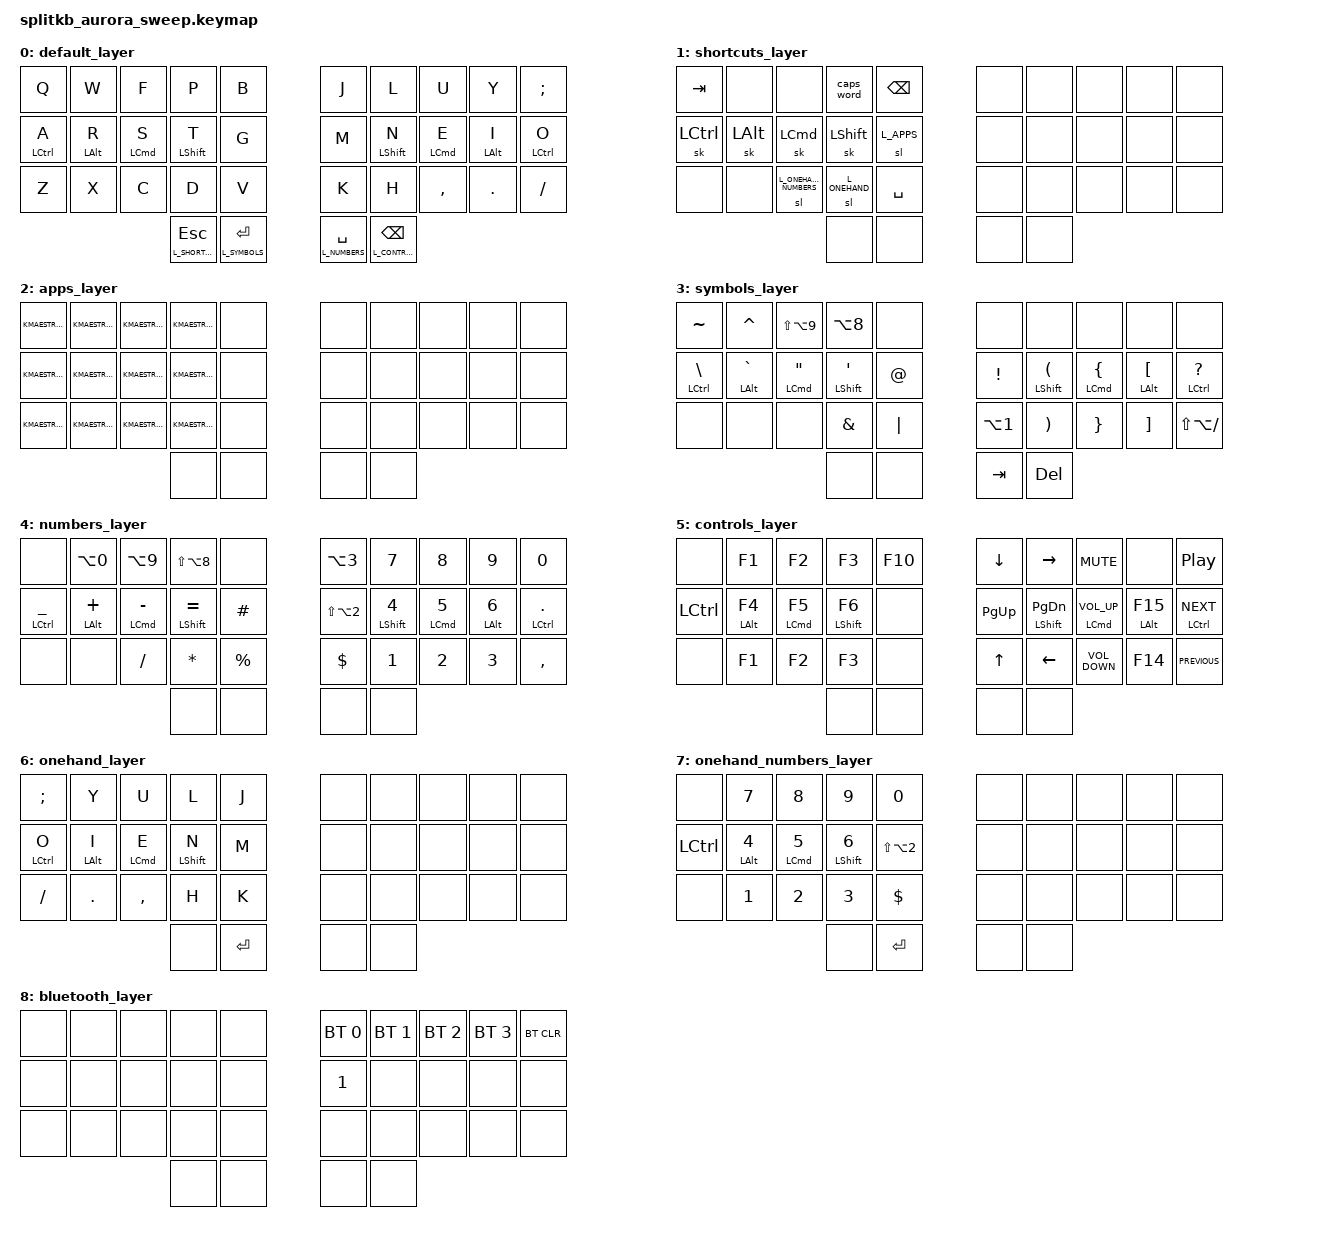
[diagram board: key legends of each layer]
/*
 * Copyright (c) 2020 The ZMK Contributors
 *
 * SPDX-License-Identifier: MIT
 */
#include <behaviors.dtsi>
#include <dt-bindings/zmk/keys.h>
#include <dt-bindings/zmk/bt.h>
#include <dt-bindings/zmk/outputs.h>


#define TAPPING_TERM 200

#define L_BASE 0
#define L_SHORTCUTS 1
#define L_APPS 2
#define L_SYMBOLS 3
#define L_NUMBERS 4
#define L_CONTROLS 5 
#define L_ONEHAND 6
#define L_ONEHAND_NUMBERS 7
#define L_BLUETOOTH 8

#define HYPER(key) LS(LC(LA(LG(key))))
#define KMAESTRO(key) LS(LC(LA(key)))
#define INTERPUNCT LS(LA(N9))
#define BULLET LA(N8)
#define EXCLAMATION_INVERTED LA(N1)
#define QUESTION_INVERTED LS(LA(SLASH))
#define ORDINAL_MASCULINE LA(N0)
#define ORDINAL_FEMENINE LA(N9)
#define DEGREE LS(LA(N8))
#define EUR LS(LA(N2))
#define GBP LA(N3)


&mt {
  tapping-term-ms = <TAPPING_TERM>;
  flavor = "tap-preferred";
};

/ { 

  combos {
      compatible = "zmk,combos";
      combo_bluetooth_layer {
          timeout-ms = <50>;
          key-positions = <30 31 32 33>;
          bindings = <&sl L_BLUETOOTH>;
      };
  };

  keymap {
      compatible = "zmk,keymap";

      default_layer {
      bindings = <
      &kp Q &kp W &kp F &kp P &kp B 					  &kp J &kp L &kp U &kp Y &kp SEMICOLON 
      &mt LCTRL A &mt LALT R &mt LCMD S &mt LSHIFT T &kp G 			      &kp M &mt LSHIFT N &mt LCMD E &mt LALT I &mt LCTRL O
      &kp Z &kp X &kp C &kp D &kp V				      &kp K &kp H &kp COMMA &kp DOT &kp SLASH
                        &lt L_SHORTCUTS ESC &lt L_SYMBOLS RETURN      &lt L_NUMBERS SPACE &lt L_CONTROLS BACKSPACE
      >;
      };

      shortcuts_layer {
      bindings = <
      &kp TAB &none &none &caps_word &kp BACKSPACE         &none &none &none &none &none 
      &sk LCTRL &sk LALT &sk LCMD &sk LSHIFT &sl L_APPS        &none &none &none &none &none
      &none &none &sl L_ONEHAND_NUMBERS &sl L_ONEHAND &kp SPACE    &none &none &none &none &none
                        &none &none        &none &none
      >;
      };

      apps_layer {
      bindings = <
      &kp KMAESTRO(F1) &kp KMAESTRO(F2) &kp KMAESTRO(F3) &kp KMAESTRO(F4) &none       &none &none &none &none &none 
      &kp KMAESTRO(F5) &kp KMAESTRO(F6) &kp KMAESTRO(F7) &kp KMAESTRO(F8) &none         &none &none &none &none &none
      &kp KMAESTRO(F9) &kp KMAESTRO(F10) &kp KMAESTRO(F11) &kp KMAESTRO(F12) &none        &none &none &none &none &none
                        &none &none        &none &none
      >;
      };
      
      symbols_layer {
      bindings = <
      &kp TILDE &kp CARET &kp INTERPUNCT &kp BULLET &none        &none &none &none &none &none
      &mt LCTRL BACKSLASH &mt LALT GRAVE &mt LCMD DOUBLE_QUOTES &mt LSHIFT SINGLE_QUOTE &kp AT_SIGN        &kp EXCLAMATION &mt LSHIFT LEFT_PARENTHESIS &mt LCMD LEFT_BRACE &mt LALT LEFT_BRACKET &mt LCTRL QUESTION
      &none &none &none &kp AMPERSAND &kp PIPE        &kp EXCLAMATION_INVERTED &kp RIGHT_PARENTHESIS &kp RIGHT_BRACE &kp RIGHT_BRACKET &kp QUESTION_INVERTED
                        &none &none        &kp TAB &kp DELETE
      >;
      };	

      numbers_layer {
      bindings = <
      &none &kp ORDINAL_MASCULINE &kp ORDINAL_FEMENINE &kp DEGREE &none        &kp GBP &kp N7 &kp N8 &kp N9 &kp N0
      &mt LCTRL UNDERSCORE &mt LALT PLUS &mt LCMD MINUS &mt LSHIFT EQUAL &kp HASH        &kp EUR &mt LSHIFT N4 &mt LCMD N5 &mt LALT N6 &mt LCTRL PERIOD
      &none &none &kp SLASH &kp ASTERISK &kp PERCENT        &kp DOLLAR &kp N1 &kp N2 &kp N3 &kp COMMA
                        &none &none        &none &none
      >;
      };	

      controls_layer {
      bindings = <
      &none &kp F1 &kp F2 &kp F3 &kp F10        &kp DOWN &kp RIGHT &kp K_MUTE &none &kp C_PLAY_PAUSE
      &kp LCTRL &mt LALT F4 &mt LCMD F5 &mt LSHIFT F6 &none        &kp PAGE_UP &mt LSHIFT PAGE_DOWN &mt LCMD C_VOLUME_UP &mt LALT F15 &mt LCTRL C_NEXT
      &none &kp F1 &kp F2 &kp F3 &none        &kp UP &kp LEFT &kp C_VOLUME_DOWN &kp F14 &kp C_PREVIOUS
                        &none &none        &none &none
      >;
      };	

      onehand_layer {
      bindings = <
      &kp SEMICOLON &kp Y &kp U &kp L &kp J        &none &none &none &none &none
      &mt LCTRL O &mt LALT I &mt LCMD E &mt LSHIFT N &kp M        &none &none &none &none &none
      &kp SLASH &kp DOT &kp COMMA &kp H &kp K        &none &none &none &none &none
                        &none &kp RETURN      &none &none 
      >;
      };	

      onehand_numbers_layer {
      bindings = <
      &none &kp N7 &kp N8 &kp N9 &kp N0        &none &none &none &none &none
      &kp LCTRL &mt LALT N4 &mt LCMD N5 &mt LSHIFT N6 &kp EUR          &none &none &none &none &none
      &none &kp N1 &kp N2 &kp N3 &kp DOLLAR        &none &none &none &none &none
                        &none &kp RETURN     &none &none
      >;
      };

      bluetooth_layer {
      bindings = <
      &none &none &none &none &none        &bt BT_SEL 0 &bt BT_SEL 1 &bt BT_SEL 2 &bt BT_SEL 3 &bt BT_CLR
      &none &none &none &none &none        &kp N1 &none &none &none &none
      &none &none &none &none &none        &none &none &none &none &none
                        &none &none        &none &none
      >;
      };

    };
};
